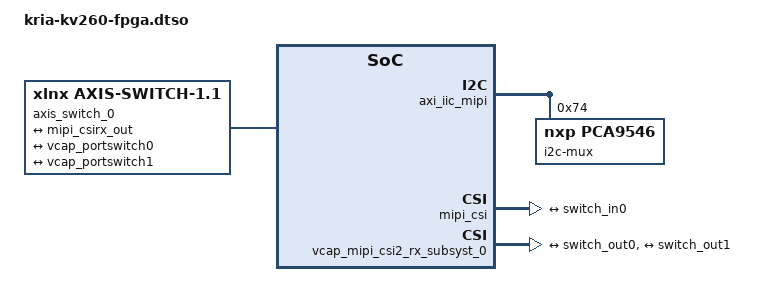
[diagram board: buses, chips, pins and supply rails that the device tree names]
/dts-v1/;
/plugin/;

#include <dt-bindings/gpio/gpio.h>

&{/} {
	fpga_axi: fpga-axi@0 {
		interrupt-parent = <&gic>;
		#address-cells = <1>;
		#size-cells = <1>;
		compatible = "simple-bus";
		ranges = <0 0 0 0xffffffff>;

		axi_iic_mipi: i2c@84a20000 {
			#address-cells = <1>;
			#size-cells = <0>;
			clock-names = "s_axi_aclk";
			clocks = <&zynqmp_clk 71>;
			compatible = "xlnx,axi-iic-2.1", "xlnx,xps-iic-2.00.a";
			reg = <0x84a20000 0x1000>;
			interrupts = <0 108 4>;

			i2c-mux@74 {
				compatible = "nxp,pca9546";
				#address-cells = <1>;
				#size-cells = <0>;
				reg = <0x74>;

				gmsl_i2c: i2c@2 {
					#address-cells = <1>;
					#size-cells = <0>;
					reg = <2>;
				};
			};
		};

		axis_switch_0: axis_switch@0 {
			compatible = "xlnx,axis-switch-1.1";
			xlnx,routing-mode = <0>;
			xlnx,num-si-slots = <1>;
			xlnx,num-mi-slots = <2>;
			clock-names = "aclk";
			clocks = <&zynqmp_clk 71>;
			ports {
				#address-cells = <1>;
				#size-cells = <0>;
				port@0 {
					reg = <0>;
					switch_in0: endpoint {
						remote-endpoint = <&mipi_csirx_out>;
					};
				};
				port@1 {
					reg = <1>;
					switch_out0: endpoint {
						remote-endpoint = <&vcap_portswitch0>;
					};
				};
				port@2 {
					reg = <2>;
					switch_out1: endpoint {
						remote-endpoint = <&vcap_portswitch1>;
					};
				};
			};
		};

		mipi_csi: mipi_csi2_rx_subsystem@84a00000 {
			clock-names = "lite_aclk", "dphy_clk_200M", "video_aclk";
			clocks = <&zynqmp_clk 71>, <&misc_clk_0>, <&zynqmp_clk 71>;
			compatible = "xlnx,mipi-csi2-rx-subsystem-5.2", "xlnx,mipi-csi2-rx-subsystem-5.0";
			interrupt-names = "csirxss_csi_irq";
			interrupt-parent = <&gic>;
			interrupts = <0 109 4>;
			xlnx,csi-pxl-format = <0x1E>;
			video-reset-gpios = <&gpio 79 GPIO_ACTIVE_LOW>;
			reg = <0x84a00000 0x2000>;
			xlnx,axis-tdata-width = <32>;
			xlnx,dphy-present;
			xlnx,max-lanes = <4>;
			xlnx,ppc = <2>;
			xlnx,vc = <4>;
			xlnx,vfb;
			ports {
				#address-cells = <1>;
				#size-cells = <0>;
				port@1 {
					reg = <1>;
					xlnx,cfa-pattern = "rggb";
					xlnx,video-format = <0>;
					xlnx,video-width = <8>;
					mipi_csirx_out: endpoint {
						remote-endpoint = <&switch_in0>;
					};
				};
				port@0 {
					reg = <0>;
					xlnx,cfa-pattern = "rggb";
					xlnx,video-format = <0>;
					xlnx,video-width = <8>;
				};
			};
		};

		misc_clk_0: misc_clk_0 {
			#clock-cells = <0>;
			clock-frequency = <200000000>;
			compatible = "fixed-clock";
		};

		v_frmbuf_wr_0: v_frmbuf_wr@84a40000 {
			#dma-cells = <1>;
			clock-names = "ap_clk";
			clocks = <&zynqmp_clk 71>;
			compatible = "xlnx,v-frmbuf-wr-v3.0", "xlnx,axi-frmbuf-wr-v2.2";
			interrupt-parent = <&gic>;
			interrupts = <0 107 4>;
			reset-gpios = <&gpio 80 GPIO_ACTIVE_LOW>;
			reg = <0x84a40000 0x10000>;
			xlnx,dma-addr-width = <32>;
			xlnx,dma-align = <16>;
			xlnx,max-height = <2160>;
			xlnx,max-width = <3840>;
			xlnx,pixels-per-clock = <2>;
			xlnx,vid-formats = "bgr888", "uyvy", "yuyv", "nv16";
		};

		v_frmbuf_wr_1: v_frmbuf_wr@84a60000 {
			#dma-cells = <1>;
			clock-names = "ap_clk";
			clocks = <&zynqmp_clk 71>;
			compatible = "xlnx,v-frmbuf-wr-v3.0", "xlnx,axi-frmbuf-wr-v2.2";
			interrupt-parent = <&gic>;
			interrupts = <0 106 4>;
			reset-gpios = <&gpio 81 GPIO_ACTIVE_LOW>;
			reg = <0x84a60000 0x10000>;
			xlnx,dma-addr-width = <32>;
			xlnx,dma-align = <16>;
			xlnx,max-height = <2160>;
			xlnx,max-width = <3840>;
			xlnx,pixels-per-clock = <2>;
			xlnx,vid-formats = "bgr888", "uyvy", "yuyv", "nv16";
		};

		vcap_mipi_csi2_rx_subsyst_0 {
			compatible = "xlnx,video";
			dma-names = "port0", "port1";
			dmas = <&v_frmbuf_wr_0 0 &v_frmbuf_wr_1 0>;
			ports {
				#address-cells = <1>;
				#size-cells = <0>;
				vcap_port0: port@0 {
					direction = "input";
					reg = <0>;
					vcap_portswitch0: endpoint {
						remote-endpoint = <&switch_out0>;
					};
				};
				vcap_port1: port@1 {
					direction = "input";
					reg = <1>;
					vcap_portswitch1: endpoint {
						remote-endpoint = <&switch_out1>;
					};
				};
			};
		};
	};
};
